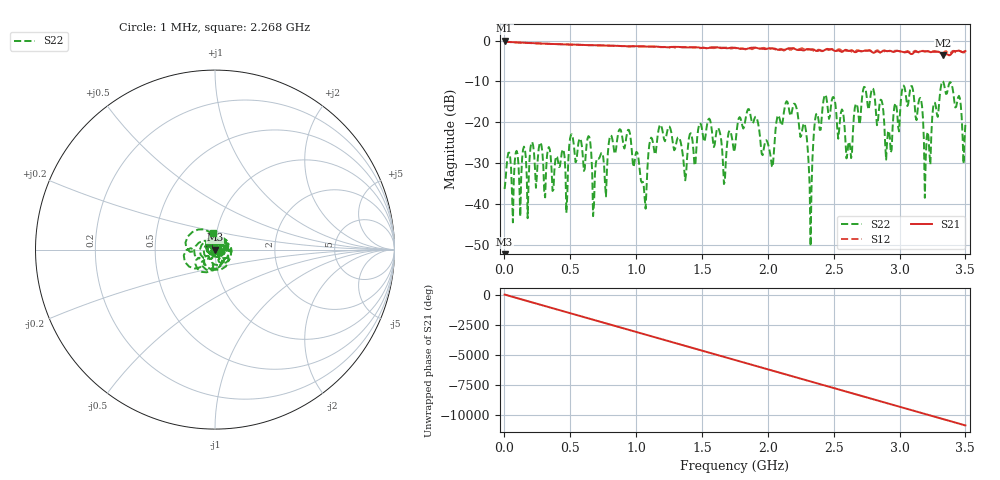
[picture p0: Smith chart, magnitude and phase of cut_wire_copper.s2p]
# GHZ S RI R 50.000000000000
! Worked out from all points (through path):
!   501 points, 1 MHz to 3.5 GHz, reference 50 ohm
!   highest |S21| = -0.03 dB at 1 MHz (marker M1); lowest = -3.6 dB at 3.332 GHz (marker M2)
!   group delay of S21, straight-line fit = 8.65 ns
!   lowest |S11| = - dB at 1 MHz (marker M3), VSWR 1.00, Z = 50 + j0 ohm
!   |S11| at or under -10 dB: start of sweep to end of sweep
!   |S22| runs from -50.3 to -9.9 dB; largest |S21 - S12| = 0.074
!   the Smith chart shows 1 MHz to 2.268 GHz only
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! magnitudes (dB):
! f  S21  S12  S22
! 1 MHz  0.0  0.0  -36.3
! 588.8 MHz  -1.1  -1.1  -26.1
! 679.8 MHz  -1.1  -1.1  -40.0
! 945.7 MHz  -1.4  -1.5  -21.9
! 1.065 GHz  -1.4  -1.4  -38.6
! 1.17 GHz  -1.5  -1.6  -21.9
! 1.373 GHz  -1.7  -1.6  -34.2
! 1.555 GHz  -1.8  -1.8  -19.1
! 1.75 GHz  -1.8  -1.8  -26.2
! 1.855 GHz  -1.9  -1.8  -16.7
! 2.03 GHz  -1.9  -1.9  -30.7
! 2.205 GHz  -2.1  -1.9  -15.5
! 2.338 GHz  -2.1  -2.3  -29.1
! 2.359 GHz  -2.4  -2.6  -19.2
! 2.436 GHz  -2.2  -2.2  -13.2
! 2.618 GHz  -2.5  -2.5  -24.8
! 2.793 GHz  -2.9  -2.7  -11.7
! 2.919 GHz  -2.5  -2.6  -22.1
! 3.094 GHz  -3.3  -3.0  -11.1
! 3.206 GHz  -2.6  -2.6  -23.6
! 3.332 GHz  -3.6  -3.1  -10.0
! 3.5 GHz  -2.6  -2.8  -20.5
